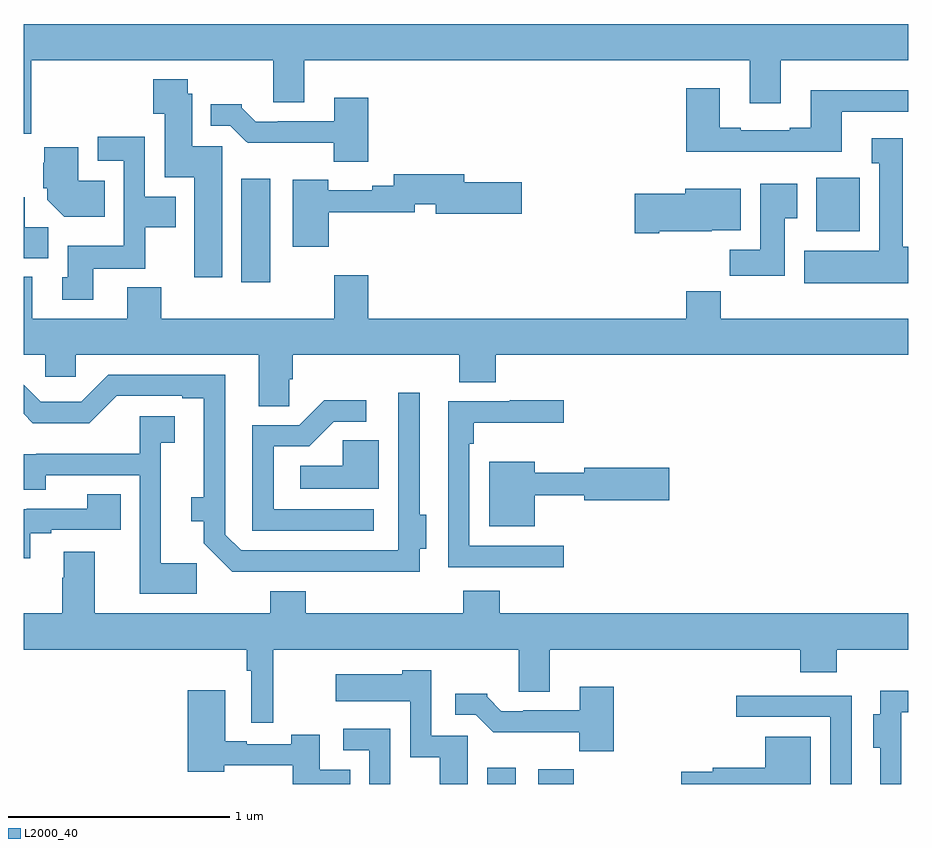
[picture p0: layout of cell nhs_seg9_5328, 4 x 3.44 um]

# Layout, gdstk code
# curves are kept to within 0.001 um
import gdstk
lib = gdstk.Library(unit=1e-6, precision=1e-09)
def R(c, l, rs):  # rectangles x0, y0, x1, y1
    for r in rs: c.add(gdstk.rectangle(r[:2], r[2:], *l))
def P(c, l, *ps):  # polygons
    for p in ps: c.add(gdstk.Polygon(p, *l))
L2000_40 = (2000, 40)

nhs_seg9_5328 = lib.new_cell('nhs_seg9_5328')
R(nhs_seg9_5328, L2000_40, [(423.095,1174.5,423.226,1174.573), (423.326,1174.5,423.488,1174.567), (421.985,1176.768,422.116,1177.237), (424.583,1176.998,424.78,1177.24)])
P(nhs_seg9_5328, L2000_40, [(421.034,1177.772),(422.129,1177.772),(422.129,1177.582),(422.269,1177.582),(422.269,1177.772),(424.283,1177.772),(424.283,1177.578),(424.423,1177.578),(424.423,1177.772),(425,1177.772),(425,1177.936),(421,1177.936),(421,1177.44),(421.034,1177.44)],
  [(421.897,1177.383),(421.762,1177.383),(421.762,1177.62),(421.743,1177.62),(421.743,1177.687),(421.586,1177.687),(421.586,1177.531),(421.637,1177.531),(421.637,1177.244),(421.772,1177.244),(421.772,1176.792),(421.897,1176.792)],
  [(424.699,1177.539),(425,1177.539),(425,1177.636),(424.559,1177.636),(424.559,1177.468),(424.463,1177.468),(424.463,1177.455),(424.243,1177.455),(424.243,1177.468),(424.147,1177.468),(424.147,1177.645),(423.995,1177.645),(423.995,1177.358),(424.699,1177.358)],
  [(422.558,1177.603),(422.405,1177.603),(422.405,1177.497),(422.149,1177.497),(422.149,1177.494),(422.05,1177.494),(421.986,1177.558),(421.986,1177.573),(421.847,1177.573),(421.847,1177.476),(421.935,1177.476),(422.014,1177.398),(422.403,1177.398),(422.403,1177.313),(422.558,1177.313)],
  [(421.315,1176.83),(421.551,1176.83),(421.551,1177.016),(421.687,1177.016),(421.687,1177.156),(421.548,1177.156),(421.548,1177.426),(421.335,1177.426),(421.335,1177.317),(421.452,1177.317),(421.452,1176.934),(421.199,1176.934),(421.199,1176.792),(421.175,1176.792),(421.175,1176.69),(421.315,1176.69)],
  [(425,1176.93),(424.975,1176.93),(424.975,1177.42),(424.835,1177.42),(424.835,1177.307),(424.868,1177.307),(424.868,1176.91),(424.529,1176.91),(424.529,1176.764),(425,1176.764)],
  [(421.367,1177.228),(421.246,1177.228),(421.246,1177.378),(421.094,1177.378),(421.094,1177.308),(421.088,1177.308),(421.088,1177.194),(421.106,1177.194),(421.106,1177.142),(421.184,1177.064),(421.367,1177.064)],
  [(422.38,1177.084),(422.769,1177.084),(422.769,1177.12),(422.864,1177.12),(422.864,1177.078),(423.253,1177.078),(423.253,1177.22),(422.992,1177.22),(422.992,1177.256),(422.673,1177.256),(422.673,1177.205),(422.576,1177.205),(422.576,1177.185),(422.378,1177.185),(422.378,1177.231),(422.216,1177.231),(422.216,1176.93),(422.38,1176.93)],
  [(424.441,1177.057),(424.498,1177.057),(424.498,1177.213),(424.331,1177.213),(424.331,1176.916),(424.192,1176.916),(424.192,1176.798),(424.441,1176.798)],
  [(423.874,1176.998),(424.11,1176.998),(424.11,1177.004),(424.243,1177.004),(424.243,1177.192),(423.992,1177.192),(423.992,1177.169),(423.762,1177.169),(423.762,1176.991),(423.874,1176.991)],
  [(421.111,1177.016),(421.006,1177.016),(421.006,1177.152),(421,1177.152),(421,1176.878),(421.111,1176.878)],
  [(422.202,1176.331),(422.216,1176.331),(422.216,1176.44),(422.969,1176.44),(422.969,1176.316),(423.134,1176.316),(423.134,1176.44),(425,1176.44),(425,1176.604),(424.151,1176.604),(424.151,1176.728),(423.995,1176.728),(423.995,1176.604),(422.558,1176.604),(422.558,1176.799),(422.405,1176.799),(422.405,1176.604),(421.622,1176.604),(421.622,1176.745),(421.469,1176.745),(421.469,1176.604),(421.039,1176.604),(421.039,1176.793),(421,1176.793),(421,1176.44),(421.098,1176.44),(421.098,1176.342),(421.236,1176.342),(421.236,1176.44),(422.063,1176.44),(422.063,1176.208),(422.202,1176.208)],
  [(422.044,1175.46),(422.79,1175.459),(422.79,1175.564),(422.821,1175.564),(422.821,1175.717),(422.79,1175.717),(422.79,1176.268),(422.694,1176.268),(422.694,1175.556),(421.983,1175.556),(421.911,1175.628),(421.911,1176.351),(421.383,1176.351),(421.26,1176.228),(421.077,1176.228),(421,1176.305),(421,1176.173),(421.042,1176.131),(421.296,1176.131),(421.42,1176.255),(421.718,1176.255),(421.718,1176.243),(421.814,1176.243),(421.814,1175.797),(421.757,1175.797),(421.757,1175.687),(421.814,1175.687),(421.814,1175.588),(421.943,1175.459)],
  [(422.584,1175.742),(422.13,1175.742),(422.13,1176.027),(422.292,1176.027),(422.403,1176.138),(422.548,1176.138),(422.548,1176.236),(422.36,1176.236),(422.247,1176.123),(422.034,1176.123),(422.034,1175.646),(422.584,1175.646)],
  [(423.442,1175.577),(423.015,1175.577),(423.015,1176.038),(423.035,1176.038),(423.035,1176.134),(423.442,1176.134),(423.442,1176.235),(423.197,1176.235),(423.197,1176.231),(422.919,1176.231),(422.919,1175.481),(423.442,1175.481)],
  [(421.782,1175.499),(421.621,1175.499),(421.621,1176.042),(421.684,1176.042),(421.684,1176.163),(421.524,1176.163),(421.524,1175.992),(421.057,1175.992),(421.057,1175.991),(421,1175.991),(421,1175.83),(421.101,1175.83),(421.101,1175.895),(421.524,1175.895),(421.524,1175.36),(421.782,1175.36)],
  [(422.605,1176.053),(422.442,1176.053),(422.442,1175.938),(422.25,1175.938),(422.25,1175.834),(422.605,1175.834)],
  [(423.31,1175.806),(423.534,1175.806),(423.534,1175.783),(423.919,1175.783),(423.919,1175.93),(423.534,1175.93),(423.534,1175.907),(423.31,1175.907),(423.31,1175.956),(423.104,1175.956),(423.104,1175.666),(423.31,1175.666)],
  [(421.03,1175.634),(421.126,1175.634),(421.126,1175.649),(421.439,1175.649),(421.439,1175.81),(421.288,1175.81),(421.288,1175.745),(421.015,1175.745),(421.015,1175.742),(421,1175.742),(421,1175.52),(421.03,1175.52)],
  [(422.129,1175.108),(423.239,1175.108),(423.239,1174.918),(423.379,1174.918),(423.379,1175.108),(424.511,1175.108),(424.511,1175.006),(424.676,1175.006),(424.676,1175.108),(425,1175.108),(425,1175.272),(423.152,1175.272),(423.152,1175.374),(422.987,1175.374),(422.987,1175.272),(422.276,1175.272),(422.276,1175.371),(422.116,1175.371),(422.116,1175.272),(421.321,1175.272),(421.321,1175.551),(421.181,1175.551),(421.181,1175.432),(421.174,1175.432),(421.174,1175.272),(421,1175.272),(421,1175.108),(422.008,1175.108),(422.008,1175.012),(422.028,1175.012),(422.028,1174.776),(422.129,1174.776)],
  [(423.007,1174.719),(422.844,1174.719),(422.844,1175.014),(422.712,1175.014),(422.712,1174.996),(422.412,1174.996),(422.412,1174.874),(422.748,1174.874),(422.748,1174.622),(422.882,1174.622),(422.882,1174.5),(423.007,1174.5)],
  [(423.668,1174.939),(423.515,1174.939),(423.515,1174.833),(423.259,1174.833),(423.259,1174.83),(423.16,1174.83),(423.096,1174.894),(423.096,1174.909),(422.952,1174.909),(422.952,1174.812),(423.045,1174.812),(423.124,1174.734),(423.513,1174.734),(423.513,1174.649),(423.668,1174.649)],
  [(422.477,1174.564),(422.338,1174.564),(422.338,1174.722),(422.209,1174.722),(422.209,1174.68),(422.008,1174.68),(422.008,1174.693),(421.912,1174.693),(421.912,1174.924),(421.742,1174.924),(421.742,1174.556),(421.908,1174.556),(421.908,1174.584),(422.216,1174.584),(422.216,1174.5),(422.477,1174.5)],
  [(424.968,1174.824),(425,1174.824),(425,1174.922),(424.872,1174.922),(424.872,1174.816),(424.841,1174.816),(424.841,1174.664),(424.872,1174.664),(424.872,1174.5),(424.968,1174.5)],
  [(424.743,1174.899),(424.221,1174.899),(424.221,1174.803),(424.647,1174.803),(424.647,1174.5),(424.743,1174.5)],
  [(422.658,1174.749),(422.445,1174.749),(422.445,1174.653),(422.562,1174.653),(422.562,1174.5),(422.658,1174.5)],
  [(424.558,1174.714),(424.352,1174.714),(424.352,1174.573),(424.115,1174.573),(424.115,1174.556),(423.973,1174.556),(423.973,1174.5),(424.558,1174.5)])

lib.write_gds('nhs_seg9_5328.gds')
